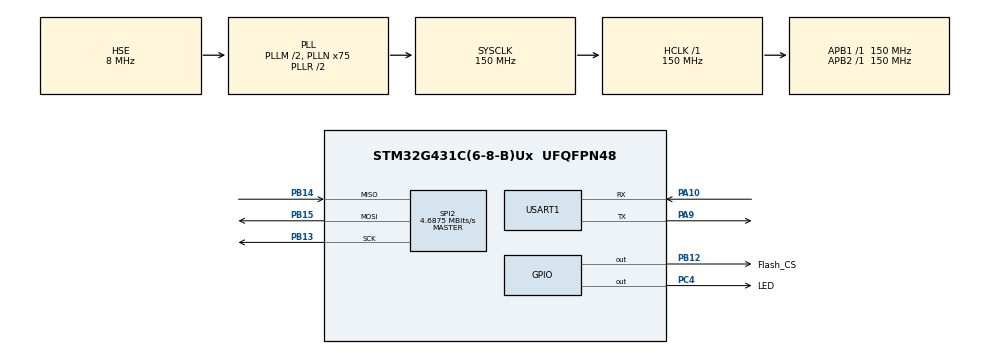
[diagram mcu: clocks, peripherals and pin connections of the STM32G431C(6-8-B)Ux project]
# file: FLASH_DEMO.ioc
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Mcu.Family=STM32G4
Mcu.Name=STM32G431C(6-8-B)Ux
Mcu.Package=UFQFPN48
NVIC.PriorityGroup=NVIC_PRIORITYGROUP_4
PA10.Mode=Asynchronous
PA10.Signal=USART1_RX
PA13.Mode=Serial_Wire
PA13.Signal=SYS_JTMS-SWDIO
PA14.Mode=Serial_Wire
PA14.Signal=SYS_JTCK-SWCLK
PA9.Mode=Asynchronous
PA9.Signal=USART1_TX
PB12.GPIO_Label=Flash_CS
PB12.GPIO_Speed=GPIO_SPEED_FREQ_VERY_HIGH
PB12.PinState=GPIO_PIN_SET
PB12.Signal=GPIO_Output
PB13.Mode=Full_Duplex_Master
PB13.Signal=SPI2_SCK
PB14.Mode=Full_Duplex_Master
PB14.Signal=SPI2_MISO
PB15.Mode=Full_Duplex_Master
PB15.Signal=SPI2_MOSI
PC4.GPIO_Label=LED
PC4.GPIO_Speed=GPIO_SPEED_FREQ_VERY_HIGH
PC4.PinState=GPIO_PIN_SET
PC4.Signal=GPIO_Output
PF0-OSC_IN.Mode=HSE-External-Oscillator
PF0-OSC_IN.Signal=RCC_OSC_IN
PF1-OSC_OUT.Mode=HSE-External-Oscillator
PF1-OSC_OUT.Signal=RCC_OSC_OUT
ProjectManager.HeapSize=0x200
ProjectManager.StackSize=0x400
ProjectManager.TargetToolchain=MDK-ARM V5.32
RCC.ADC12Freq_Value=150000000
RCC.AHBFreq_Value=150000000
RCC.APB1Freq_Value=150000000
RCC.APB1TimFreq_Value=150000000
RCC.APB2Freq_Value=150000000
RCC.APB2TimFreq_Value=150000000
RCC.CortexFreq_Value=150000000
RCC.EXTERNAL_CLOCK_VALUE=12288000
RCC.HCLKFreq_Value=150000000
RCC.HSE_VALUE=8000000
RCC.HSI48_VALUE=48000000
RCC.HSI_VALUE=16000000
RCC.LSE_VALUE=32768
RCC.PLLM=RCC_PLLM_DIV2
RCC.PLLN=75
RCC.PLLSourceVirtual=RCC_PLLSOURCE_HSE
RCC.SYSCLKFreq_VALUE=150000000
RCC.SYSCLKSource=RCC_SYSCLKSOURCE_PLLCLK
RCC.USBFreq_Value=150000000
RCC.VCOOutputFreq_Value=300000000
SPI2.BaudRatePrescaler=SPI_BAUDRATEPRESCALER_32
SPI2.CalculateBaudRate=4.6875 MBits/s
SPI2.DataSize=SPI_DATASIZE_8BIT
SPI2.Direction=SPI_DIRECTION_2LINES
SPI2.Mode=SPI_MODE_MASTER
SPI2.VirtualType=VM_MASTER
USART1.VirtualMode-Asynchronous=VM_ASYNC
VP_SYS_VS_DBSignals.Mode=DisableDeadBatterySignals
board=custom

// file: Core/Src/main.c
/* USER CODE BEGIN Header */
/**
 ******************************************************************************
 * @file           : main.c
 * @brief          : Main program body
 ******************************************************************************
 * @attention
 *
 * Copyright (c) 2023 STMicroelectronics.
 * All rights reserved.
 *
 * This software is licensed under terms that can be found in the LICENSE file
 * in the root directory of this software component.
 * If no LICENSE file comes with this software, it is provided AS-IS.
 *
 ******************************************************************************
 */
/* USER CODE END Header */
#include "main.h"
#include "spi.h"
#include "usart.h"
#include "gpio.h"

/* USER CODE BEGIN Includes */
#include <stdio.h>
#include "W25Qxx.h"
/* USER CODE END Includes */

/* USER CODE BEGIN PV */
uint8_t Flag = 0;
/* USER CODE END PV */

void SystemClock_Config(void);
/* USER CODE BEGIN PFP */
uint8_t Test_Flash(void);
/* USER CODE END PFP */

int main(void)
{

  /* MCU Configuration--------------------------------------------------------*/

  /* Reset of all peripherals, Initializes the Flash interface and the Systick. */
  HAL_Init();

  /* Configure the system clock */
  SystemClock_Config();

  /* Initialize all configured peripherals */
  MX_GPIO_Init();
  MX_SPI2_Init();
  MX_USART1_UART_Init();
  /* USER CODE BEGIN 2 */
  Flag = Test_Flash();
  /* USER CODE END 2 */

  /* Infinite loop */
  /* USER CODE BEGIN WHILE */
  while (1)
  {
    if (Flag == HAL_OK)
    {
      HAL_GPIO_TogglePin(GPIOC, GPIO_PIN_4);
      HAL_Delay(500);
    }
    else
    {
      HAL_GPIO_WritePin(GPIOC, GPIO_PIN_4, GPIO_PIN_RESET);
    }
    /* USER CODE END WHILE */

  }
}

void SystemClock_Config(void)
{
  RCC_OscInitTypeDef RCC_OscInitStruct = {0};
  RCC_ClkInitTypeDef RCC_ClkInitStruct = {0};

  /** Configure the main internal regulator output voltage
  */
  HAL_PWREx_ControlVoltageScaling(PWR_REGULATOR_VOLTAGE_SCALE1);

  /** Initializes the RCC Oscillators according to the specified parameters
  * in the RCC_OscInitTypeDef structure.
  */
  RCC_OscInitStruct.OscillatorType = RCC_OSCILLATORTYPE_HSE;
  RCC_OscInitStruct.HSEState = RCC_HSE_ON;
  RCC_OscInitStruct.PLL.PLLState = RCC_PLL_ON;
  RCC_OscInitStruct.PLL.PLLSource = RCC_PLLSOURCE_HSE;
  RCC_OscInitStruct.PLL.PLLM = RCC_PLLM_DIV2;
  RCC_OscInitStruct.PLL.PLLN = 75;
  RCC_OscInitStruct.PLL.PLLP = RCC_PLLP_DIV2;
  RCC_OscInitStruct.PLL.PLLQ = RCC_PLLQ_DIV2;
  RCC_OscInitStruct.PLL.PLLR = RCC_PLLR_DIV2;
  if (HAL_RCC_OscConfig(&RCC_OscInitStruct) != HAL_OK)
  {
    Error_Handler();
  }

  /** Initializes the CPU, AHB and APB buses clocks
  */
  RCC_ClkInitStruct.ClockType = RCC_CLOCKTYPE_HCLK|RCC_CLOCKTYPE_SYSCLK
                              |RCC_CLOCKTYPE_PCLK1|RCC_CLOCKTYPE_PCLK2;
  RCC_ClkInitStruct.SYSCLKSource = RCC_SYSCLKSOURCE_PLLCLK;
  RCC_ClkInitStruct.AHBCLKDivider = RCC_SYSCLK_DIV1;
  RCC_ClkInitStruct.APB1CLKDivider = RCC_HCLK_DIV1;
  RCC_ClkInitStruct.APB2CLKDivider = RCC_HCLK_DIV1;

  if (HAL_RCC_ClockConfig(&RCC_ClkInitStruct, FLASH_LATENCY_4) != HAL_OK)
  {
    Error_Handler();
  }
}

/* USER CODE BEGIN 4 */
uint8_t i;
uint8_t Read[10];
uint8_t Write[10];
uint16_t id16 = 0;
uint8_t id8 = 0;
uint8_t Test_Flash(void)
{
	W25Qx_Coerce_Reset();
	HAL_Delay(5);
  W25Qx_Read_ID_16(&id16);
  W25Qx_Read_ID_8(&id8);
  printf("Flash_Id_8:%X, Flash_Id_16:%X\r\n", id8, id16);
  if (id8 == 0x17 && id16 == 0xEF17)
    Flag |= 0;
  else
    Flag |= 1;
  for (i = 0; i < 10; i++)
  {
    Write[i] = i;
  }
  W25Qx_Write_Data(Write, 0, 10);
  W25Qx_Read_Data(Read, 0, 10);
  for (i = 0; i < 10; i++)
  {
    printf("Read%d:%d\r\n", i, Read[i]);
    if (Write[i] != Read[i])
    {
      Flag |= 1;
    }
    else
    {
      Flag |= 0;
    }
  }
  return Flag;
}
/* USER CODE END 4 */

void Error_Handler(void)
{
  __disable_irq();
  while (1)
  {
  }
}
